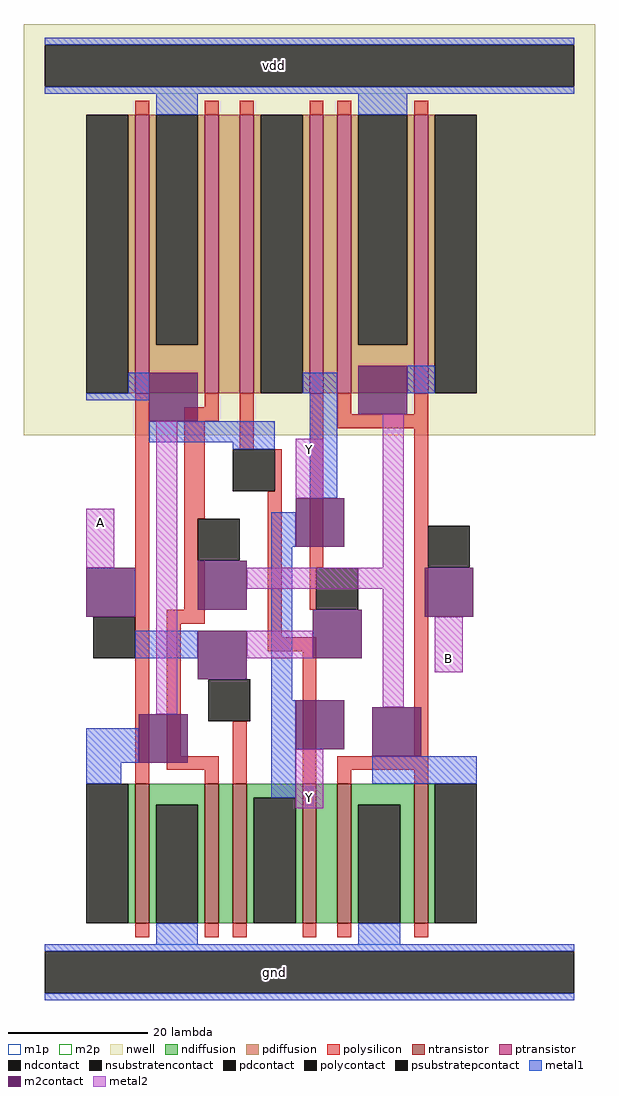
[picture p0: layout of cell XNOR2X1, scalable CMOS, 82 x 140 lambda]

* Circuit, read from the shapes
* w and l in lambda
.subckt XNOR2X1 A B Y vdd gnd
M1 gnd A n1 gnd nfet w=20 l=2
M2 n2 n3 gnd gnd nfet w=20 l=2
M3 Y A n2 gnd nfet w=20 l=2
M4 n4 n1 Y gnd nfet w=20 l=2
M5 gnd B n4 gnd nfet w=20 l=2
M6 n3 B gnd gnd nfet w=20 l=2
M7 vdd A n1 vdd pfet w=40 l=2
M8 n5 n3 vdd vdd pfet w=40 l=2
M9 Y n1 n5 vdd pfet w=40 l=2
M10 n6 A Y vdd pfet w=40 l=2
M11 vdd B n6 vdd pfet w=40 l=2
M12 n3 B vdd vdd pfet w=40 l=2
.ends

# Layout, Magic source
magic
tech scmos
magscale 1 2
<< nwell >>
rect -12 154 152 272
<< ntransistor >>
rect 20 14 24 54
rect 40 14 44 54
rect 48 14 52 54
rect 68 14 72 54
rect 78 14 82 54
rect 100 14 104 54
<< ptransistor >>
rect 20 166 24 246
rect 40 166 44 246
rect 50 166 54 246
rect 70 166 74 246
rect 78 166 82 246
rect 100 166 104 246
<< ndiffusion >>
rect 18 14 20 54
rect 24 48 40 54
rect 24 14 26 48
rect 38 14 40 48
rect 44 14 48 54
rect 52 50 68 54
rect 52 14 54 50
rect 66 14 68 50
rect 72 14 78 54
rect 82 48 100 54
rect 82 14 84 48
rect 96 14 100 48
rect 104 14 106 54
<< pdiffusion >>
rect 18 166 20 246
rect 24 180 26 246
rect 38 180 40 246
rect 24 166 40 180
rect 44 166 50 246
rect 54 166 56 246
rect 68 166 70 246
rect 74 166 78 246
rect 82 180 84 246
rect 98 180 100 246
rect 82 166 100 180
rect 104 166 106 246
<< ndcontact >>
rect 6 14 18 54
rect 26 14 38 48
rect 54 14 66 50
rect 84 14 96 48
rect 106 14 118 54
<< pdcontact >>
rect 6 166 18 246
rect 26 180 38 246
rect 56 166 68 246
rect 84 180 98 246
rect 106 166 118 246
<< psubstratepcontact >>
rect -6 -6 146 6
<< nsubstratencontact >>
rect -6 254 146 266
<< polysilicon >>
rect 20 246 24 250
rect 40 246 44 250
rect 50 246 54 250
rect 70 246 74 250
rect 78 246 82 250
rect 100 246 104 250
rect 20 54 24 166
rect 40 162 44 166
rect 34 158 44 162
rect 34 130 40 158
rect 50 150 54 166
rect 60 138 62 150
rect 34 118 38 130
rect 34 104 40 118
rect 29 100 40 104
rect 29 62 33 100
rect 58 96 62 138
rect 70 116 74 166
rect 78 160 82 166
rect 100 160 104 166
rect 78 156 104 160
rect 70 104 72 116
rect 58 92 72 96
rect 29 58 44 62
rect 40 54 44 58
rect 48 54 52 72
rect 68 54 72 92
rect 100 62 104 156
rect 78 58 104 62
rect 78 54 82 58
rect 100 54 104 58
rect 20 10 24 14
rect 40 10 44 14
rect 48 10 52 14
rect 68 10 72 14
rect 78 10 82 14
rect 100 10 104 14
<< polycontact >>
rect 8 90 20 102
rect 48 138 60 150
rect 38 118 50 130
rect 72 104 84 116
rect 41 72 53 84
rect 104 116 116 128
<< metal1 >>
rect -6 266 146 268
rect -6 252 146 254
rect 26 246 38 252
rect 84 246 98 252
rect 18 166 24 172
rect 6 164 24 166
rect 68 166 78 172
rect 24 152 60 158
rect 48 150 60 152
rect 70 136 78 166
rect 98 166 106 174
rect 59 122 66 132
rect 20 90 38 98
rect 6 60 21 70
rect 59 78 65 122
rect 6 54 16 60
rect 59 50 66 78
rect 88 54 118 62
rect 26 8 38 14
rect 84 8 96 14
rect -6 6 146 8
rect -6 -8 146 -6
<< m2contact >>
rect 24 158 38 172
rect 84 160 98 174
rect 66 122 80 136
rect 6 102 20 116
rect 38 104 52 118
rect 38 84 52 98
rect 21 60 35 74
rect 71 90 85 104
rect 103 102 117 116
rect 66 64 80 78
rect 88 62 102 76
<< metal2 >>
rect 6 116 14 133
rect 26 74 32 158
rect 66 136 74 153
rect 91 116 97 160
rect 52 110 97 116
rect 52 90 71 98
rect 91 76 97 110
rect 106 86 114 102
rect 66 47 74 64
<< m1p >>
rect -6 252 146 268
rect -6 -8 146 8
<< m2p >>
rect 66 136 74 153
rect 6 116 14 133
rect 106 86 114 102
rect 66 47 74 64
<< labels >>
rlabel metal1 -6 252 126 268 0 vdd
port 4 nsew power bidirectional abutment
rlabel metal1 -6 -8 126 8 0 gnd
port 5 nsew ground bidirectional abutment
rlabel metal2 10 129 10 129 1 A
port 1 n signal input
rlabel metal2 70 150 70 150 1 Y
port 3 n signal output
rlabel metal2 70 50 70 50 1 Y
port 3 n signal output
rlabel metal2 110 90 110 90 5 B
port 2 n signal input
<< properties >>
string FIXED_BBOX 0 0 140 260
string LEFclass CORE
string LEFsite core
string LEFsymmetry X Y
<< end >>
